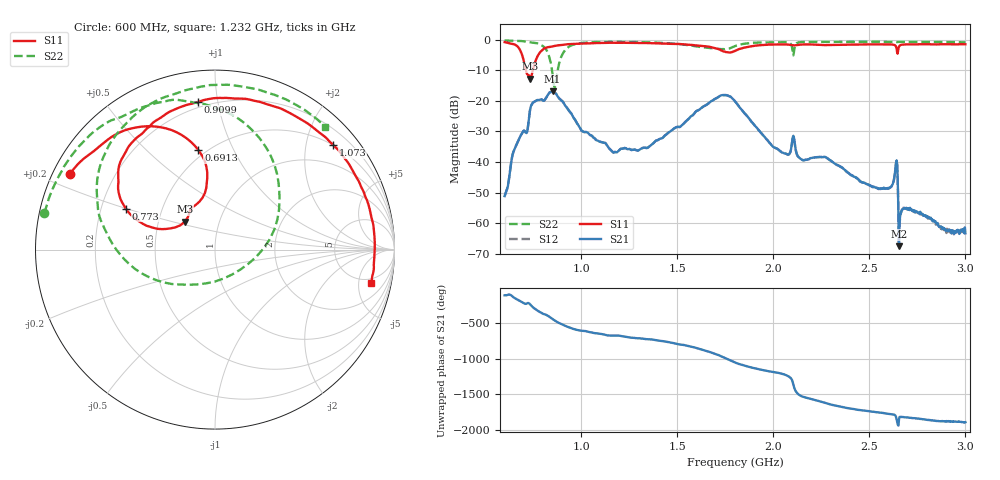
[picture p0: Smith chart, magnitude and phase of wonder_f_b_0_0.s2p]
#  HZ  S  RI  R  50.00
! Rohde & Schwarz ZVB8 2Ports - Version 2.81 - 1145.1010k08 SN: 100113
! Date: 2016-05-12 03:16:28
! Measurements: S11 S21 S12 S22
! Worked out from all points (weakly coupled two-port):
!   1000 points, 600 MHz to 3 GHz, reference 50 ohm
!   highest |S21| = -16.92 dB at 849.8 MHz (marker M1); lowest = -67.5 dB at 2.654 GHz (marker M2)
!   lowest |S11| = -12.8 dB at 734.5 MHz (marker M3), VSWR 1.59, Z = 34.1 + j11.3 ohm
!   |S11| at or under -10 dB: 711 MHz to 746.6 MHz (35.61 MHz wide, 4.89 % of centre)
!   |S22| runs from -15.5 to -0.3 dB; largest |S21 - S12| = 0.0011
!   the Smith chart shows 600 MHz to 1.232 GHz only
!   S11 on the Smith chart (normalised r, x): 600 MHz: 0.05, +0.25; 691.3 MHz: 0.46, +0.74; 773 MHz: 0.31, +0.20; 909.9 MHz: 0.17, +0.88; 1.073 GHz: 0.50, +2.55; 1.232 GHz: 4.11, -7.27
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6e8  -0.808 0.4234  -0.000691 -0.00268  -0.000686 -0.00274  -0.95 0.2032
6.912913e8  -0.0923 0.5543  -0.028 0.0106  -0.028 0.0104  -0.7303 0.6042
7.345345e8  -0.1677 0.1562  -0.0421 0.0637  -0.0416 0.064  -0.5138 0.7429
7.72973e8  -0.4969 0.2287  0.0823 0.0623  0.083 0.0629  -0.2582 0.8307
8.138138e8  -0.5033 0.5326  0.1048 -0.0315  0.1047 -0.0318  0.1892 0.6828
8.498498e8  -0.368 0.6827  0.0289 -0.1396  0.0289 -0.1398  0.2688 0.0037
8.738739e8  -0.2735 0.7557  -0.0639 -0.1036  -0.0637 -0.1037  -0.1957 -0.1946
9.099099e8  -0.0964 0.8225  -0.088 -0.0171  -0.0878 -0.0171  -0.6254 0.1387
1.001201e9  0.3598 0.7887  -0.0152 0.0287  -0.0152 0.0286  -0.3883 0.7955
1.073273e9  0.6582 0.5834  0.00347 0.0232  0.00345 0.0232  -0.0351 0.9159
1.231832e9  0.8707 -0.1841  0.0146 0.00818  0.0146 0.00816  0.6154 0.6847
1.4e9  0.3469 -0.7987  0.0215 -0.00802  0.0215 -0.00803  0.8922 0.0685
1.623423e9  -0.5421 -0.5836  -0.0628 -0.0429  -0.0627 -0.0429  0.5203 -0.5534
1.801201e9  -0.6322 -0.1821  0.0851 0.0468  0.0853 0.0471  0.3081 -0.7257
1.974174e9  -0.7291 0.3984  -0.000939 -0.0217  -0.000923 -0.0217  -0.2286 -0.8746
2.2e9  0.000815 0.8342  -0.00687 -0.00943  -0.00686 -0.00943  -0.7106 -0.5863
2.428228e9  0.7441 0.3712  2.52e-05 0.00561  -5.64e-05 0.00563  -0.9239 -0.079
2.601201e9  0.7493 -0.3759  0.00329 0.00169  0.00338 0.00165  -0.8703 0.3063
2.634835e9  0.6082 -0.5245  0.00749 0.000601  0.0074 0.000622  -0.8399 0.3724
2.654054e9  0.6545 -0.3968  0.000266 -0.000326  0.000288 -0.000321  -0.8268 0.4041
2.800601e9  0.1484 -0.8273  0.000703 -0.00101  0.000754 -0.00103  -0.6243 0.6741
3e9  -0.5435 -0.6438  -3.84e-06 -0.000681  2.26e-05 -0.000758  -0.1989 0.884
